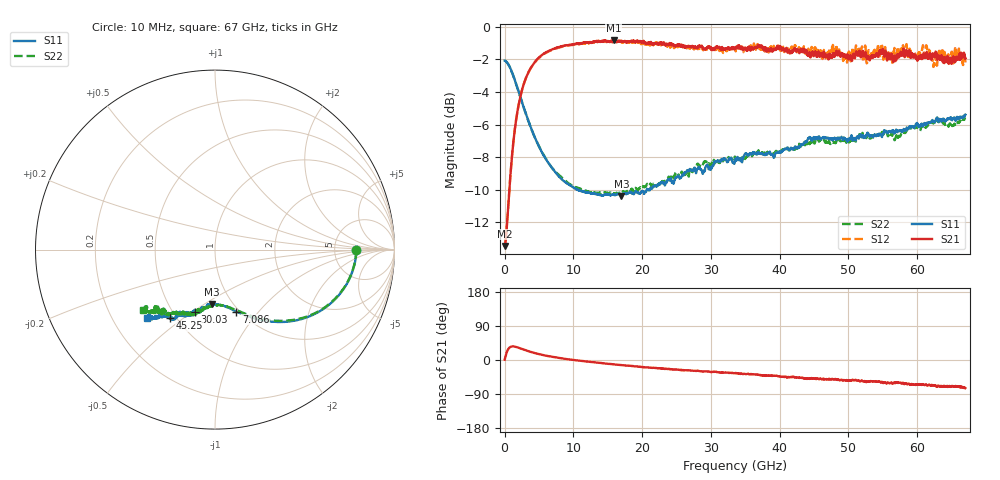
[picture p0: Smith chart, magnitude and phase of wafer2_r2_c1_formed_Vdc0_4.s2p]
!Keysight Technologies,N5227A,US51270248,A.10.65.08
!Date: Tuesday, June 11, 2024 06:41:03
!Correction: S11(Full 2 Port(1,4))
!S41(Full 2 Port(1,4))
!S14(Full 2 Port(1,4))
!S44(Full 2 Port(1,4))
!S2P File: Measurements: S11, S41, S14, S44:
# Hz S  dB  R 50
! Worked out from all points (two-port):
!   3201 points, 10 MHz to 67 GHz, reference 50 ohm
!   highest |S21| = -0.84 dB at 15.88 GHz (marker M1); lowest = -13.4 dB at 10 MHz (marker M2)
!   |S21| within 3 dB of the highest: 2.564 GHz to end of sweep
!   lowest |S11| = -10.4 dB at 16.99 GHz (marker M3), VSWR 1.87, Z = 40.3 - j26.9 ohm
!   |S11| at or under -10 dB: 10.67 GHz to 20.67 GHz (9.998 GHz wide, 63.8 % of centre); 20.86465 GHz to 20.9412 GHz (76.55 MHz wide, 0.366 % of centre); 20.95252 GHz to 20.99574 GHz (43.23 MHz wide, 0.206 % of centre)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
!   |S22| runs from -10.3 to -2.1 dB; largest |S21 - S12| = 0.087
!   S11 on the Smith chart (normalised r, x): 10 MHz: 8.43, -0.17; 7.086 GHz: 0.97, -0.77; 30.03 GHz: 0.63, -0.51; 45.25 GHz: 0.46, -0.45; 67 GHz: 0.35, -0.37
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1e7  -2.07 -0.3  -13.44 0.9  -13.45 0.9  -2.07 -0.2
1.161391e9  -2.87 -23.5  -7.58 35.9  -7.57 35.8  -2.88 -23.1
2.208109e9  -4.19 -38.9  -4.45 31.2  -4.45 31.1  -4.20 -38.2
4.322481e9  -6.69 -57.6  -2.21 18.7  -2.22 18.5  -6.71 -56.4
7.085819e9  -8.74 -71.0  -1.36 7.9  -1.39 7.8  -8.74 -69.2
1.118896e10  -10.07 -82.4  -1.00 -2.3  -1.04 -2.5  -9.95 -80.9
1.587826e10  -10.31 -92.0  -0.84 -11.4  -0.91 -11.1  -10.23 -91.2
1.698778e10  -10.37 -93.3  -0.88 -13.6  -0.95 -13.3  -10.22 -92.2
2.234698e10  -9.67 -99.3  -1.05 -21.5  -1.04 -21.3  -9.73 -100.2
3.002989e10  -8.69 -108.1  -1.33 -32.1  -1.32 -30.9  -8.46 -110.7
3.3505e10  -8.19 -112.7  -1.33 -34.4  -1.41 -34.6  -7.97 -116.5
4.468396e10  -6.89 -122.5  -1.60 -48.6  -1.29 -48.0  -7.04 -125.7
4.524918e10  -6.81 -123.2  -1.71 -49.7  -1.49 -49.5  -6.99 -126.4
4.782411e10  -6.85 -125.9  -1.63 -51.5  -1.54 -51.9  -7.08 -129.0
4.899644e10  -6.74 -126.9  -1.60 -52.5  -1.66 -54.4  -6.92 -130.0
5.079679e10  -6.82 -127.5  -1.79 -53.5  -1.87 -53.2  -6.94 -130.3
5.584198e10  -6.42 -129.2  -1.69 -59.8  -1.79 -60.2  -6.70 -135.2
5.730738e10  -6.36 -129.9  -1.89 -60.3  -1.65 -60.8  -6.71 -133.5
6.153613e10  -5.89 -131.5  -1.95 -67.0  -1.67 -68.1  -6.07 -136.1
6.264565e10  -5.76 -131.7  -1.61 -66.8  -1.90 -68.2  -5.81 -137.7
6.375517e10  -5.64 -133.7  -1.85 -70.2  -1.63 -70.3  -5.87 -139.9
6.7e10  -5.38 -134.8  -1.93 -73.9  -2.19 -74.8  -5.65 -140.2
